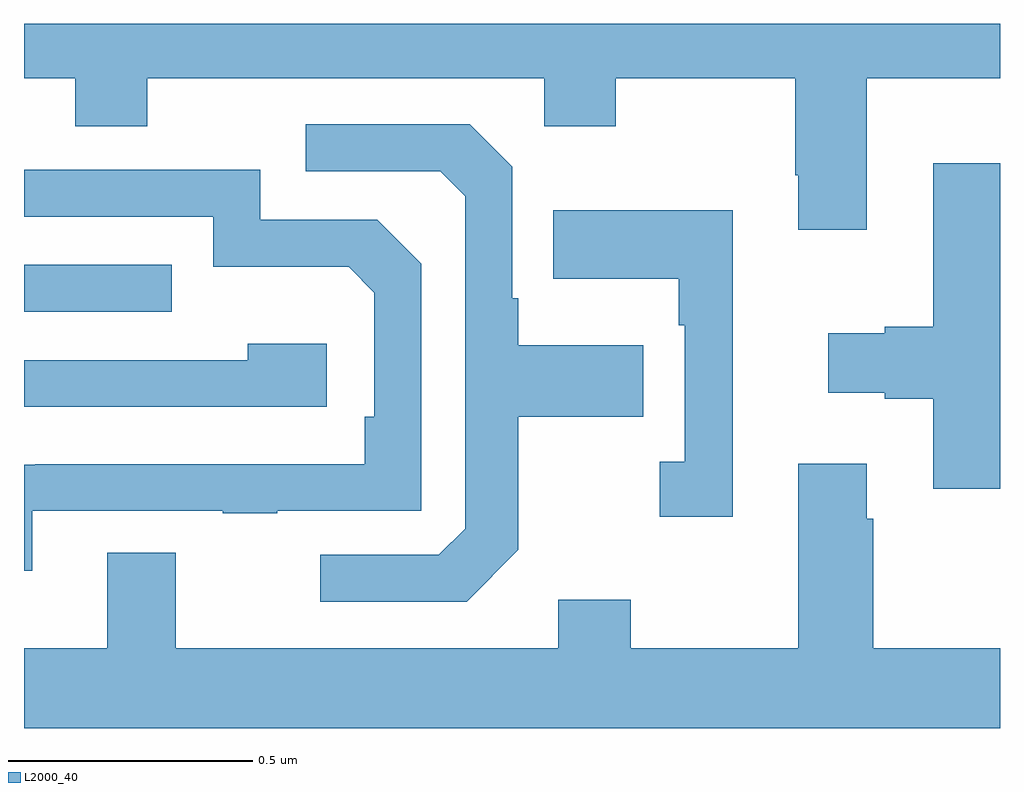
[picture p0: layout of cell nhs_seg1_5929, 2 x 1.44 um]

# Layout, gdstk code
import gdstk
lib = gdstk.Library(unit=1e-6, precision=1e-09)
def R(c, l, rs):  # rectangles x0, y0, x1, y1
    for r in rs: c.add(gdstk.rectangle(r[:2], r[2:], *l))
def P(c, l, *ps):  # polygons
    for p in ps: c.add(gdstk.Polygon(p, *l))
L2000_40 = (2000, 40)

nhs_seg1_5929 = lib.new_cell('nhs_seg1_5929')
R(nhs_seg1_5929, L2000_40, [(185,528.609,185.303,528.705)])
P(nhs_seg1_5929, L2000_40, [(186.727,529.088),(187,529.088),(187,529.199),(185,529.199),(185,529.088),(185.105,529.088),(185.105,528.989),(185.253,528.989),(185.253,529.088),(186.066,529.088),(186.066,528.989),(186.213,528.989),(186.213,529.088),(186.58,529.088),(186.58,528.889),(186.587,528.889),(186.587,528.777),(186.727,528.777)],
  [(186.013,528.121),(186.013,528.394),(186.269,528.394),(186.269,528.541),(186.013,528.541),(186.013,528.637),(186,528.637),(186,528.906),(185.913,528.993),(185.577,528.993),(185.577,528.897),(185.853,528.897),(185.904,528.846),(185.904,528.165),(185.85,528.111),(185.607,528.111),(185.607,528.015),(185.907,528.015)],
  [(187,528.913),(186.863,528.913),(186.863,528.578),(186.764,528.578),(186.764,528.565),(186.648,528.565),(186.648,528.443),(186.764,528.443),(186.764,528.431),(186.863,528.431),(186.863,528.246),(187,528.246)],
  [(185.017,528.201),(185.407,528.201),(185.407,528.196),(185.519,528.196),(185.519,528.201),(185.814,528.201),(185.814,528.708),(185.724,528.798),(185.484,528.798),(185.484,528.9),(185,528.9),(185,528.804),(185.388,528.804),(185.388,528.701),(185.665,528.701),(185.718,528.648),(185.718,528.394),(185.698,528.394),(185.698,528.297),(185.023,528.297),(185.023,528.296),(185,528.296),(185,528.078),(185.017,528.078)],
  [(186.452,528.817),(186.085,528.817),(186.085,528.677),(186.342,528.677),(186.342,528.581),(186.354,528.581),(186.354,528.302),(186.303,528.302),(186.303,528.189),(186.452,528.189)],
  [(185.62,528.544),(185.459,528.544),(185.459,528.51),(185,528.51),(185,528.414),(185.62,528.414)],
  [(187,527.92),(186.74,527.92),(186.74,528.185),(186.727,528.185),(186.727,528.298),(186.587,528.298),(186.587,527.92),(186.243,527.92),(186.243,528.019),(186.095,528.019),(186.095,527.92),(185.311,527.92),(185.311,528.115),(185.171,528.115),(185.171,527.92),(185,527.92),(185,527.756),(187,527.756)])

lib.write_gds('nhs_seg1_5929.gds')
